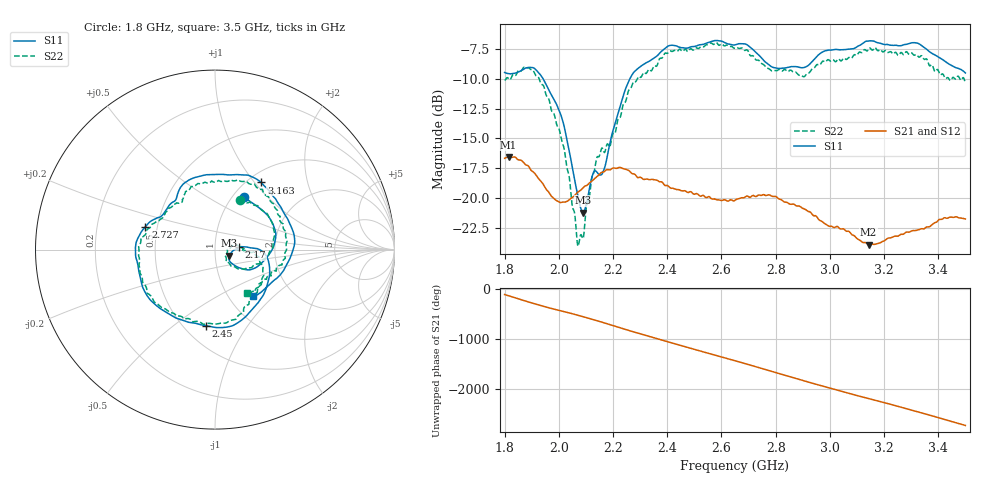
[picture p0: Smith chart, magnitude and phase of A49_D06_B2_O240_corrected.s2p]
! Created with skrf 1.9.0 (http://scikit-rf.org).
# Hz S RI R 50.0
!freq ReS11 ImS11 ReS21 ImS21 ReS12 ImS12 ReS22 ImS22
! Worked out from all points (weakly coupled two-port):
!   1601 points, 1.8 GHz to 3.5 GHz, reference 50 ohm
!   highest |S21| = -16.55 dB at 1.815 GHz (marker M1); lowest = -23.9 dB at 3.143 GHz (marker M2)
!   lowest |S11| = -21.2 dB at 2.09 GHz (marker M3), VSWR 1.19, Z = 58.6 - j3.92 ohm
!   |S11| at or under -10 dB: 1.942 GHz to 2.262 GHz (320.4 MHz wide, 15.2 % of centre)
!   |S22| runs from -24.0 to -7.0 dB; largest |S21 - S12| = 0.0026
!   S11 on the Smith chart (normalised r, x): 1.8 GHz: 1.13, +0.75; 2.17 GHz: 1.31, +0.04; 2.45 GHz: 0.64, -0.66; 2.727 GHz: 0.43, +0.13; 3.163 GHz: 1.15, +1.08; 3.5 GHz: 1.28, -0.75
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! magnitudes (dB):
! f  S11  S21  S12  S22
! 1.8 GHz  -9.5  -16.7  -16.7  -10.1
! 1.815 GHz  -9.6  -16.6  -16.6  -10.0
! 1.884 GHz  -9.1  -17.3  -17.3  -9.1
! 1.943 GHz  -10.1  -18.9  -18.9  -10.6
! 2.013 GHz  -13.4  -20.4  -20.4  -15.3
! 2.068 GHz  -19.5  -19.6  -19.6  -23.7
! 2.084 GHz  -21.0  -19.3  -19.2  -23.1
! 2.09 GHz  -21.2  -19.1  -19.2  -23.4
! 2.133 GHz  -17.7  -18.4  -18.4  -17.6
! 2.17 GHz  -17.4  -17.8  -17.8  -16.2
! 2.26 GHz  -10.1  -17.7  -17.7  -10.9
! 2.367 GHz  -8.0  -18.6  -18.5  -8.6
! 2.45 GHz  -7.4  -19.4  -19.4  -7.6
! 2.65 GHz  -7.2  -20.2  -20.2  -7.5
! 2.727 GHz  -7.8  -19.9  -19.9  -8.4
! 2.802 GHz  -9.1  -19.9  -19.9  -9.3
! 2.934 GHz  -8.6  -21.3  -21.3  -9.2
! 3.143 GHz  -6.8  -23.9  -23.8  -7.5
! 3.163 GHz  -6.9  -23.9  -23.9  -7.4
! 3.217 GHz  -7.2  -23.4  -23.3  -7.8
! 3.324 GHz  -7.0  -22.7  -22.6  -8.1
! 3.5 GHz  -9.5  -21.8  -21.7  -10.4
